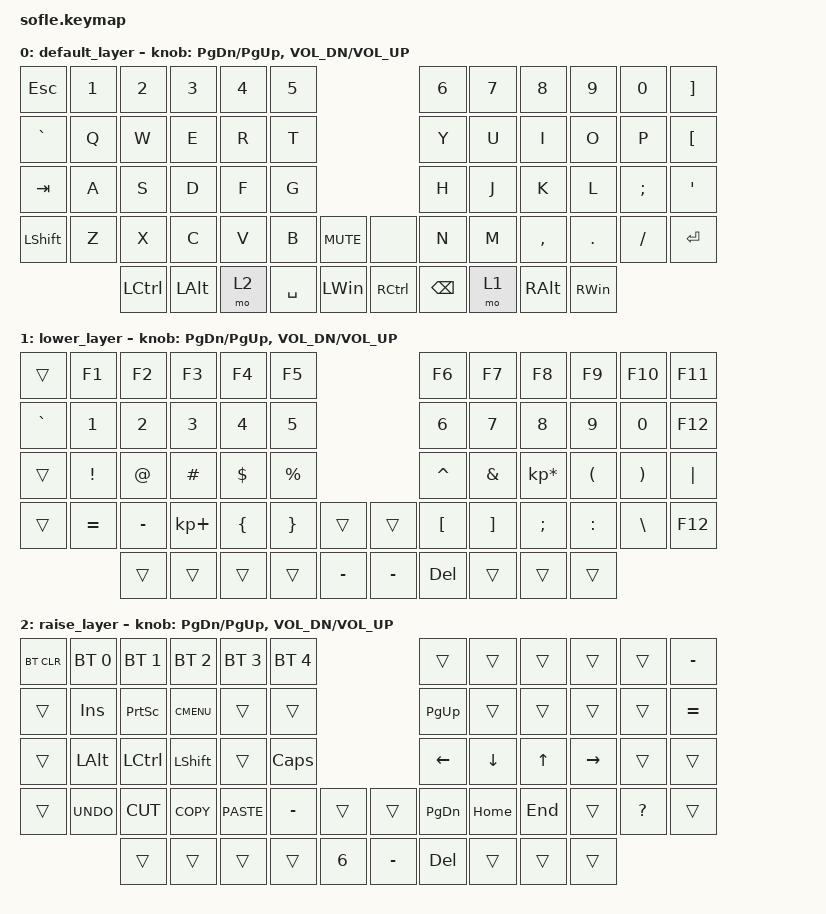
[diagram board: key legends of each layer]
/*
 * Copyright (c) 2020 The ZMK Contributors
 *
 * SPDX-License-Identifier: MIT
 */

#include <behaviors.dtsi>
#include <dt-bindings/zmk/keys.h>
#include <dt-bindings/zmk/bt.h>

/ {
    keymap {
        compatible = "zmk,keymap";

        default_layer {
// ------------------------------------------------------------------------------------------------------------------------
// |  ESC    |   1   |   2  |   3   |   4   |   5   |                   |   6   |   7    |   8    |   9   |   0   |    ]   |
// |  ~      |   Q   |   W  |   E   |   R   |   T   |                   |   Y   |   U    |   I    |   O   |   P   |    [   |
// |  TAB    |   A   |   S  |   D   |   F   |   G   |                   |   H   |   J    |   K    |   L   |   ;   |    '   |
// |  LSHIFT |   Z   |   X  |   C   |   V   |   B   |  MUTE  |  |       |   N   |   M    |   ,    |   .   |   /   | ENTER  |
//                   | LCTL | LALT  | LOWER | SPACE |  LWIN  |  | RWIN  | BKSPC | RAISE  |  RALT  | RCTRL |
             bindings = <
&kp ESC   &kp N1 &kp N2   &kp N3   &kp N4    &kp N5                      &kp N6 &kp N7    &kp N8    &kp N9   &kp N0   &kp RBKT
&kp GRAVE &kp Q  &kp W    &kp E    &kp R     &kp T                       &kp Y  &kp U     &kp I     &kp O    &kp P    &kp LBKT
&kp TAB   &kp A  &kp S    &kp D    &kp F     &kp G                       &kp H  &kp J     &kp K     &kp L    &kp SEMI &kp SQT
&kp LSHFT &kp Z  &kp X    &kp C    &kp V     &kp B  &kp C_MUTE   &none   &kp N  &kp M     &kp COMMA &kp DOT  &kp FSLH &kp ENTER
                 &kp LCTRL &kp LALT &mo 2 &kp SPACE  &kp LWIN    &kp RCTRL &kp BSPC  &mo 1 &kp RALT  &kp RWIN
            >;
            sensor-bindings = <&inc_dec_kp PG_DN PG_UP &inc_dec_kp C_VOL_DN C_VOL_UP>;
        };

        lower_layer {
// ------------------------------------------------------------------------------------------------------------------------
// |        |   F1  |   F2  |  F3   |   F4  |   F5  |                   |  F6   |   F7   |   F8   |  F9   |  F10  |  F11  |
// | `      |    1  |    2  |   3   |    4  |    5  |                   |   6   |    7   |    8   |   9   |    0  |  F12  |
// |        |   !   |   @   |  #    |   $   |   %   |                   |  ^    |   &    |   *    |  (    |   )   |   |   |
// |        |   =   |   -   |  +    |   {   |   }   |        |  |       |  [    |   ]    |   ;    |  :    |   \   |  F12  |
//                  |       |       |       |       |  MINUS |  | MINUS |  DEL  |        |        |       |
            bindings = <
&trans    &kp F1    &kp F2    &kp F3      &kp F4    &kp F5                    &kp F6    &kp F7   &kp F8          &kp F9    &kp F10   &kp F11
&kp GRAVE &kp N1    &kp N2    &kp N3      &kp N4    &kp N5                    &kp N6    &kp N7   &kp N8          &kp N9    &kp N0    &kp F12
&trans    &kp EXCL  &kp AT    &kp HASH    &kp DLLR  &kp PRCNT                 &kp CARET &kp AMPS &kp KP_MULTIPLY &kp LPAR  &kp RPAR  &kp PIPE
&trans    &kp EQUAL &kp MINUS &kp KP_PLUS &kp LBRC  &kp RBRC  &trans   &trans &kp LBKT  &kp RBKT &kp SEMI        &kp COLON &kp BSLH  &kp F12
                    &trans    &trans      &trans    &trans  &kp MINUS &kp MINUS &kp DEL  &trans  &trans &trans
            >;
            sensor-bindings = <&inc_dec_kp PG_DN PG_UP &inc_dec_kp C_VOL_DN C_VOL_UP>;
        };

        raise_layer {
// ------------------------------------------------------------------------------------------------------------------------
// | BTCLR |  BT1   |  BT2  |  BT3  |  BT4  |  BT5  |                   |      |        |        |       |       | MINUS  |
// |       |  INS   |  PSCR | GUI   |       |       |                   | PGUP |        |        |       |       |   =    |
// |       |  ALT   |  CTRL | SHIFT |       | CAPS  |                   |  <-  |   v    |   ^    |  ->   |       |        |
// |       |  UNDO  |  CUT  | COPY  | PASTE | MINUS |        |  |       | PGD  |  HOME  |  END   |       |   ?   |        |
//                  |       |       |       |       |    6   |  | MINUS |  DEL |        |        |       |
            bindings = <
&bt BT_CLR &bt BT_SEL 0 &bt BT_SEL 1 &bt BT_SEL 2 &bt BT_SEL 3 &bt BT_SEL 4               &trans    &trans    &trans   &trans    &trans  &kp MINUS
&trans     &kp INS      &kp PSCRN    &kp K_CMENU  &trans       &trans                     &kp PG_UP &trans    &trans   &trans    &trans  &kp EQUAL
&trans     &kp LALT     &kp LCTRL    &kp LSHFT    &trans       &kp CLCK                   &kp LEFT  &kp DOWN  &kp UP   &kp RIGHT &trans  &trans
&trans     &kp K_UNDO   &kp K_CUT    &kp K_COPY   &kp K_PASTE  &kp MINUS &trans    &trans &kp PG_DN &kp HOME  &kp END  &trans    &kp QMARK  &trans
                        &trans       &trans       &trans       &trans    &kp N6    &kp MINUS &kp DEL &trans   &trans   &trans
            >;
            sensor-bindings = <&inc_dec_kp PG_DN PG_UP &inc_dec_kp C_VOL_DN C_VOL_UP>;
        };
    };
};
